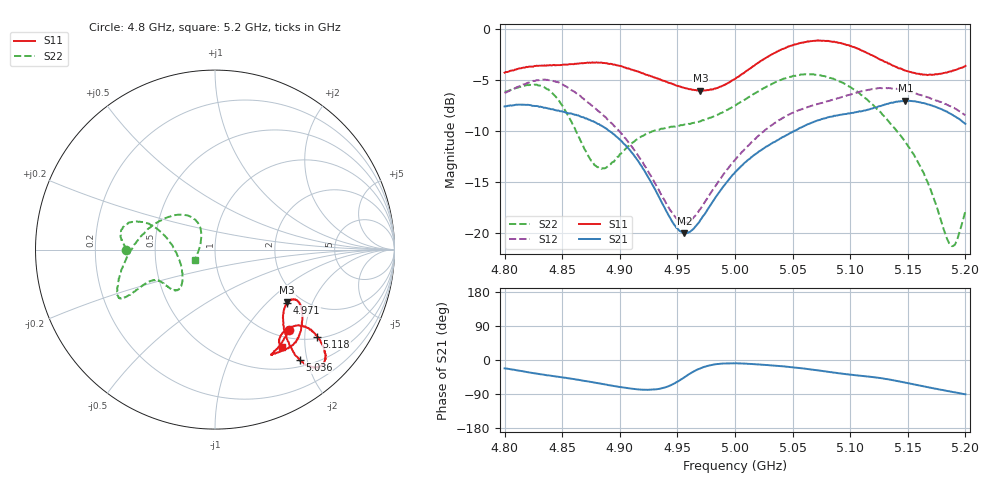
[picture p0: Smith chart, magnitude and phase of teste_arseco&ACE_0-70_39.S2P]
! Network Analyzer HP8722D
! Hewlett-Packard
! Data name: Linha & Wilkinson
! Saver's name: Rodrigo Anjos
! Comments: Teste da utilização de aquisição
! continua pelo VNA HP8722D
! Time and date: 8/5/2025 13:05
!  Frequency  S11  S21  S12  S22
# HZ  S  MA R 50
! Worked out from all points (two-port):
!   401 points, 4.8 GHz to 5.2 GHz, reference 50 ohm
!   highest |S21| = -7.02 dB at 5.148 GHz (marker M1); lowest = -20.0 dB at 4.956 GHz (marker M2)
!   |S21| within 3 dB of the highest: start of sweep to 4.891 GHz; 5.051 GHz to end of sweep
!   lowest |S11| = -6.1 dB at 4.97 GHz (marker M3), VSWR 2.98, Z = 84.8 - j66.2 ohm
!   |S11| at or under -10 dB: nowhere
!   |S22| runs from -21.3 to -4.4 dB; largest |S21 - S12| = 0.95
!   S11 on the Smith chart (normalised r, x): 4.8 GHz: 1.14, -1.65; 4.971 GHz: 1.68, -1.33; 5.036 GHz: 0.61, -1.87; 5.118 GHz: 1.05, -2.30; 5.2 GHz: 0.82, -1.57
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4.8e9  0.6117 -47.4  0.4173 -22.1  0.4853 -176.0  0.4933 180.0
4.822e9  0.6545 -59.0  0.4231 -33.0  0.55 176.2  0.5326 170.8
4.837e9  0.6648 -61.8  0.4093 -40.5  0.5638 167.4  0.5066 163.4
4.851e9  0.6696 -59.9  0.3926 -46.4  0.532 158.5  0.4129 158.9
4.867e9  0.6811 -54.8  0.3702 -54.1  0.4615 150.8  0.276 166.5
4.886e9  0.6823 -48.5  0.3308 -63.6  0.3759 144.0  0.2075 -158.7
4.909e9  0.6366 -40.4  0.2532 -75.1  0.2722 137.7  0.2712 -133.4
4.934e9  0.5696 -33.2  0.15 -76.3  0.162 141.1  0.3204 -135.6
4.956e9  0.5149 -32.6  0.09964 -45.7  0.112 172.5  0.3405 -144.6
4.97e9  0.498 -36.1  0.1158 -21.7  0.1312 -163.5  0.3527 -150.0
4.971e9  0.4983 -36.4  0.1178 -20.5  0.1339 -162.4  0.3555 -150.4
5e9  0.5692 -48.0  0.1982 -8.9  0.2283 -146.9  0.4219 -153.8
5.036e9  0.7736 -52.5  0.2834 -15.3  0.3501 -147.6  0.5516 -152.0
5.067e9  0.8738 -48.4  0.3481 -25.2  0.4221 -154.4  0.6003 -155.0
5.095e9  0.8437 -43.4  0.3827 -37.1  0.4684 -162.4  0.5392 -166.3
5.118e9  0.747 -40.5  0.4069 -44.5  0.5066 -173.1  0.4335 173.2
5.134e9  0.677 -40.2  0.433 -51.4  0.5131 177.3  0.3485 152.9
5.148e9  0.6255 -42.5  0.4455 -59.8  0.4988 169.3  0.2787 135.8
5.166e9  0.5974 -48.5  0.43 -70.9  0.4651 161.0  0.1832 122.7
5.187e9  0.6198 -54.9  0.3848 -83.2  0.4185 153.7  0.08705 158.7
5.192e9  0.6317 -55.4  0.3698 -85.8  0.4051 151.9  0.09028 -178.5
5.2e9  0.6597 -55.7  0.343 -90.5  0.3786 149.3  0.1282 -152.3
